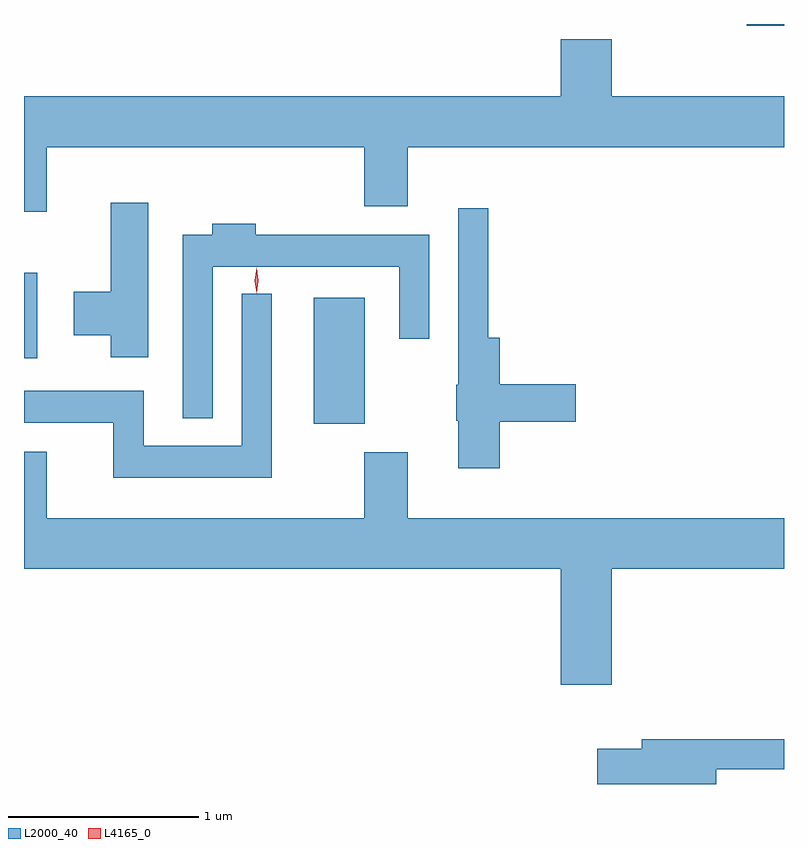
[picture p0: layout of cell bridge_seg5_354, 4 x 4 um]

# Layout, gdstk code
import gdstk
lib = gdstk.Library(unit=1e-6, precision=1e-09)
def R(c, l, rs):  # rectangles x0, y0, x1, y1
    for r in rs: c.add(gdstk.rectangle(r[:2], r[2:], *l))
def P(c, l, *ps):  # polygons
    for p in ps: c.add(gdstk.Polygon(p, *l))
L2000_40 = (2000, 40)
L4165_0 = (4165, 0)

bridge_seg5_354 = lib.new_cell('bridge_seg5_354')
R(bridge_seg5_354, L2000_40, [(573.416,1519.721,573.684,1520.384), (571.89,1520.066,571.959,1520.514), (575.693,1521.816,575.89,1521.824)])
P(bridge_seg5_354, L2000_40, [(572.009,1521.176),(573.681,1521.176),(573.681,1520.866),(573.909,1520.866),(573.909,1521.176),(575.89,1521.176),(575.89,1521.444),(574.984,1521.444),(574.984,1521.744),(574.716,1521.744),(574.716,1521.444),(571.89,1521.444),(571.89,1520.836),(572.009,1520.836)],
  [(572.544,1520.884),(572.346,1520.884),(572.346,1520.414),(572.151,1520.414),(572.151,1520.186),(572.346,1520.186),(572.346,1520.071),(572.544,1520.071)],
  [(574.394,1519.731),(574.794,1519.731),(574.794,1519.929),(574.394,1519.929),(574.394,1520.174),(574.334,1520.174),(574.334,1520.853),(574.176,1520.853),(574.176,1519.925),(574.166,1519.925),(574.166,1519.735),(574.176,1519.735),(574.176,1519.486),(574.394,1519.486)],
  [(572.884,1520.546),(573.866,1520.546),(573.866,1520.168),(574.024,1520.168),(574.024,1520.714),(573.109,1520.714),(573.109,1520.774),(572.881,1520.774),(572.881,1520.714),(572.726,1520.714),(572.726,1519.748),(572.884,1519.748)],
  [(573.194,1520.403),(573.036,1520.403),(573.036,1519.604),(572.519,1519.604),(572.519,1519.894),(571.89,1519.894),(571.89,1519.726),(572.361,1519.726),(572.361,1519.436),(573.194,1519.436)],
  [(574.984,1518.956),(575.89,1518.956),(575.89,1519.224),(573.909,1519.224),(573.909,1519.569),(573.681,1519.569),(573.681,1519.224),(572.009,1519.224),(572.009,1519.574),(571.89,1519.574),(571.89,1518.956),(574.716,1518.956),(574.716,1518.346),(574.984,1518.346)],
  [(575.534,1517.901),(575.89,1517.901),(575.89,1518.059),(575.141,1518.059),(575.141,1518.009),(574.906,1518.009),(574.906,1517.824),(575.534,1517.824)])
P(bridge_seg5_354, L4165_0, [(573.114,1520.407),(573.104,1520.474),(573.114,1520.54),(573.114,1520.54),(573.115,1520.54),(573.124,1520.474),(573.115,1520.407),(573.115,1520.407)])

lib.write_gds('bridge_seg5_354.gds')
